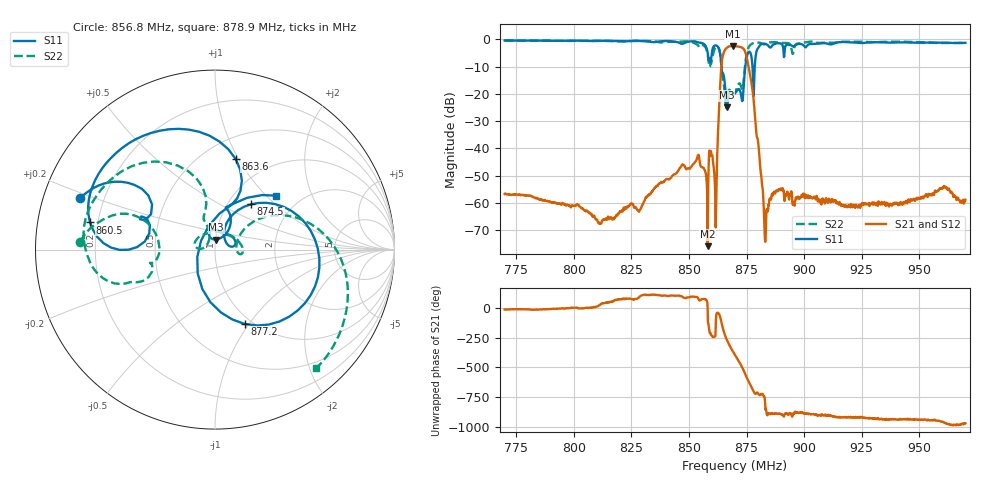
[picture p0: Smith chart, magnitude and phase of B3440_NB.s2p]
! Matrix data file written by TouchstoneData, EPCOS AG
! FILENAME: "B3440_NB.s2p"
! COMMENT: "AA73B2.NB.2.s2p"
! INFO: nport=2, nfreq=1601
! DATE: "Tue Aug 27 11:24:38 2013"
! USER: "Daniel Harbusch"
! port | pin | signal
!  1  |  5  |  Output
!  2  |  2  |  Input
# MHZ S MA R 50
! freq  magS11 angS11  magS21 angS21  magS12 angS12  magS22 angS22
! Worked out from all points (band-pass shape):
!   1601 points, 770 MHz to 970 MHz, reference 50 ohm
!   highest |S21| = -2.44 dB at 869.1 MHz (marker M1); lowest = -75.9 dB at 858.1 MHz (marker M2)
!   |S21| within 3 dB of the highest: 864.9 MHz to 874.7 MHz (9.834 MHz wide, 1.13 % of centre)
!   lowest |S11| = -24.9 dB at 866.5 MHz (marker M3), VSWR 1.12, Z = 50.3 + j5.67 ohm
!   |S11| at or under -10 dB: 864.1 MHz to 874.5 MHz (10.37 MHz wide, 1.19 % of centre); 877.5736 MHz to 878.585 MHz (1.011 MHz wide, 0.115 % of centre)
!   |S22| runs from -25.6 to -0.4 dB; largest |S21 - S12| = 0
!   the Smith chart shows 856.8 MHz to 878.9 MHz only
!   S11 on the Smith chart (normalised r, x): 856.8 MHz: 0.11, +0.18; 860.5 MHz: 0.17, +0.10; 863.6 MHz: 0.70, +0.97; 874.5 MHz: 1.28, +0.72; 877.2 MHz: 0.92, -0.95; 878.9 MHz: 1.52, +1.15
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770  0.9524 -114.6  0.001462 -9.8  0.001462 -9.8  0.9496 -114.2
803.375  0.9413 -123.7  0.000796 -0.1  0.000796 -0.1  0.9426 -121.0
811.375  0.9371 -125.8  0.0004227 27.9  0.0004227 27.9  0.9422 -124.1
836.75  0.9103 -140.4  0.002173 112.9  0.002173 112.9  0.8876 -137.5
856.75  0.8043 158.9  0.004076 78.8  0.004076 78.8  0.7521 176.6
858.125  0.5741 141.2  0.000161 -3.8  0.000161 -3.8  0.5334 158.0
860.5  0.7124 167.7  0.005527 115.1  0.005527 115.1  0.5324 -159.2
861.875  0.7699 135.3  0.001461 -56.6  0.001461 -56.6  0.7372 173.7
863.625  0.5179 77.2  0.1606 -77.5  0.1606 -77.5  0.5133 114.1
865.25  0.2004 64.4  0.5937 156.1  0.5937 156.1  0.1376 108.2
866.5  0.05657 83.8  0.6995 91.7  0.6995 91.7  0.08046 177.2
869.125  0.1018 69.8  0.7555 -6.5  0.7555 -6.5  0.09706 104.7
870  0.1027 56.0  0.7515 -34.7  0.7515 -34.7  0.1046 61.4
872.125  0.1157 13.6  0.7288 -103.6  0.7288 -103.6  0.154 -6.8
874.5  0.3237 51.4  0.5737 160.3  0.5737 160.3  0.376 30.4
877.25  0.4454 -68.3  0.1501 49.8  0.1501 49.8  0.8262 -30.5
878.875  0.4557 41.3  0.02968 -3.3  0.02968 -3.3  0.8693 -49.5
883.375  0.821 -48.2  0.0002861 -128.9  0.0002861 -128.9  0.8342 -70.7
888.875  0.8487 -69.6  0.0017 -169.1  0.0017 -169.1  0.8773 -88.2
903.375  0.8201 -84.3  0.001229 -176.5  0.001229 -176.5  0.9063 -98.3
936.75  0.8733 -104.6  0.0008643 137.3  0.0008643 137.3  0.9034 -110.7
970  0.8631 -112.4  0.001146 107.6  0.001146 107.6  0.8604 -116.5
